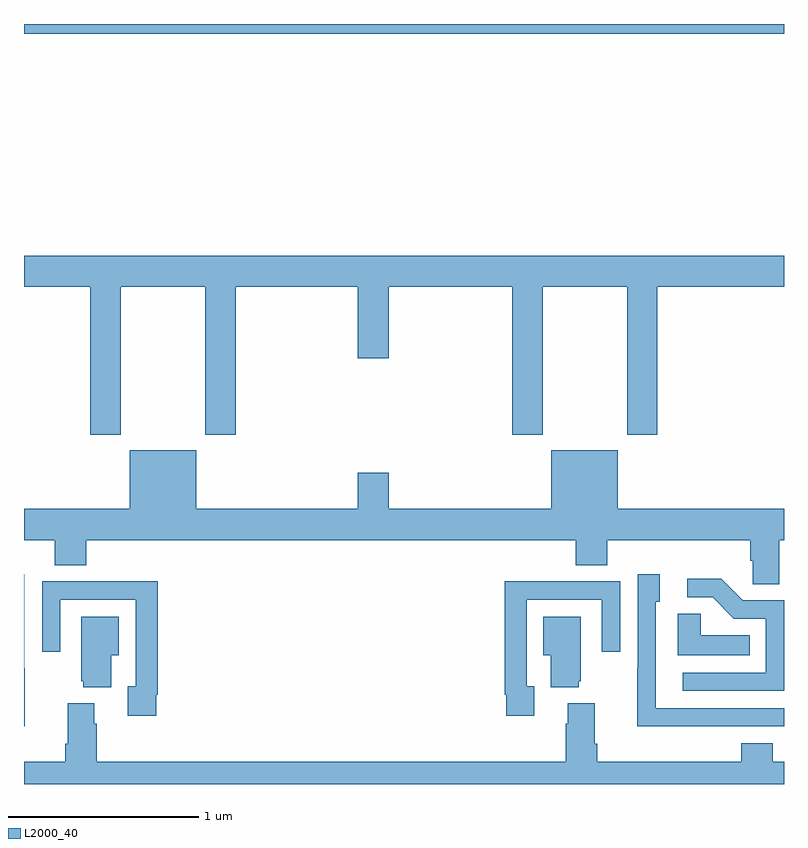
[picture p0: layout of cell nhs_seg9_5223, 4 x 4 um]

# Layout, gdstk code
import gdstk
lib = gdstk.Library(unit=1e-6, precision=1e-09)
def R(c, l, rs):  # rectangles x0, y0, x1, y1
    for r in rs: c.add(gdstk.rectangle(r[:2], r[2:], *l))
def P(c, l, *ps):  # polygons
    for p in ps: c.add(gdstk.Polygon(p, *l))
L2000_40 = (2000, 40)

nhs_seg9_5223 = lib.new_cell('nhs_seg9_5223')
R(nhs_seg9_5223, L2000_40, [(415,1168.448,419,1168.5)])
P(nhs_seg9_5223, L2000_40, [(415.509,1167.116),(415.954,1167.116),(415.954,1166.337),(416.114,1166.337),(416.114,1167.116),(416.756,1167.116),(416.756,1166.742),(416.92,1166.742),(416.92,1167.116),(417.569,1167.116),(417.569,1166.337),(417.729,1166.337),(417.729,1167.116),(418.174,1167.116),(418.174,1166.337),(418.334,1166.337),(418.334,1167.116),(419,1167.116),(419,1167.28),(415,1167.28),(415,1167.116),(415.349,1167.116),(415.349,1166.337),(415.509,1166.337)],
  [(418.975,1165.784),(419,1165.784),(419,1165.948),(418.126,1165.948),(418.126,1166.257),(417.776,1166.257),(417.776,1165.948),(416.92,1165.948),(416.92,1166.137),(416.756,1166.137),(416.756,1165.948),(415.906,1165.948),(415.906,1166.257),(415.556,1166.257),(415.556,1165.948),(415,1165.948),(415,1165.784),(415.163,1165.784),(415.163,1165.651),(415.328,1165.651),(415.328,1165.784),(417.905,1165.784),(417.905,1165.651),(418.07,1165.651),(418.07,1165.784),(418.823,1165.784),(418.823,1165.675),(418.836,1165.675),(418.836,1165.552),(418.975,1165.552)],
  [(415.005,1165.109),(415.002,1165.109),(415.002,1165.603),(415,1165.603),(415,1164.803),(415.005,1164.803)],
  [(418.691,1164.804),(419,1164.804),(419,1164.9),(418.326,1164.9),(418.326,1165.458),(418.345,1165.458),(418.345,1165.603),(418.23,1165.603),(418.23,1165.109),(418.228,1165.109),(418.228,1164.803),(418.691,1164.803)],
  [(419,1165.467),(418.782,1165.467),(418.669,1165.58),(418.491,1165.58),(418.491,1165.482),(418.625,1165.482),(418.736,1165.371),(418.905,1165.371),(418.905,1165.086),(418.467,1165.086),(418.467,1164.99),(419,1164.99)],
  [(417.685,1165.014),(417.645,1165.014),(417.645,1165.47),(418.041,1165.47),(418.041,1165.197),(418.137,1165.197),(418.137,1165.566),(417.821,1165.566),(417.821,1165.568),(417.529,1165.568),(417.529,1164.97),(417.537,1164.97),(417.537,1164.858),(417.685,1164.858)],
  [(415.696,1164.97),(415.703,1164.97),(415.703,1165.568),(415.411,1165.568),(415.411,1165.566),(415.095,1165.566),(415.095,1165.197),(415.191,1165.197),(415.191,1165.47),(415.587,1165.47),(415.587,1165.014),(415.547,1165.014),(415.547,1164.858),(415.696,1164.858)],
  [(418.82,1165.282),(418.563,1165.282),(418.563,1165.397),(418.442,1165.397),(418.442,1165.178),(418.82,1165.178)],
  [(415.459,1165.178),(415.498,1165.178),(415.498,1165.381),(415.301,1165.381),(415.301,1165.041),(415.313,1165.041),(415.313,1165.01),(415.459,1165.01)],
  [(417.92,1165.041),(417.931,1165.041),(417.931,1165.381),(417.734,1165.381),(417.734,1165.178),(417.773,1165.178),(417.773,1165.01),(417.92,1165.01)],
  [(415.382,1164.818),(415.369,1164.818),(415.369,1164.925),(415.229,1164.925),(415.229,1164.712),(415.217,1164.712),(415.217,1164.616),(415,1164.616),(415,1164.5),(419,1164.5),(419,1164.616),(418.94,1164.616),(418.94,1164.715),(418.775,1164.715),(418.775,1164.616),(418.016,1164.616),(418.016,1164.712),(418.003,1164.712),(418.003,1164.925),(417.863,1164.925),(417.863,1164.818),(417.851,1164.818),(417.851,1164.616),(415.382,1164.616)])

lib.write_gds('nhs_seg9_5223.gds')
